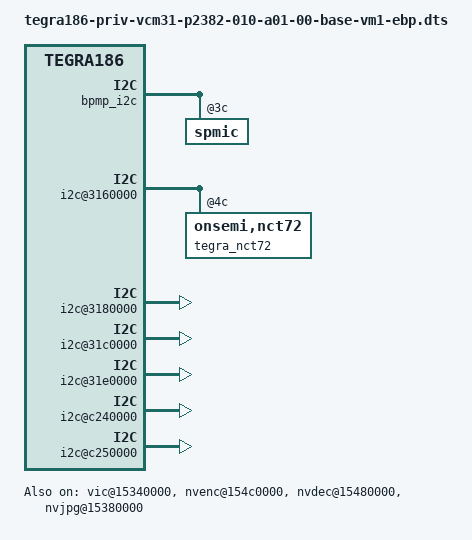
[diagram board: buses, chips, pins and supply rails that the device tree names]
/*
 * tegra186-priv-vcm31-p2382-010-a01-00-base-vm1.dts: P2382(sunstreaker) base vm1 dts
 * file
 *
 * Copyright (c) 2015-2016, NVIDIA CORPORATION.  All rights reserved.
 *
 * This program is free software; you can redistribute it and/or modify
 * it under the terms of the GNU General Public License as published by
 * the Free Software Foundation; version 2 of the License.
 *
 * This program is distributed in the hope that it will be useful, but WITHOUT
 * ANY WARRANTY; without even the implied warranty of MERCHANTABILITY or
 * FITNESS FOR A PARTICULAR PURPOSE.  See the GNU General Public License for
 * more details.
 */

#include "tegra186-platforms/tegra186-vcm31-p2382-common.dtsi"


/ {
	nvidia,dtsfilename = __FILE__;
	nvidia,boardids = "p2382:0010:A01";
	nvidia,proc-boardid = "p2382:0010:A01";

	tegra_hv: hyp {
		compatible = "nvidia,tegra-hv";
		status = "okay";
	};

	chosen {
		nvidia,tegra-hypervisor-mode;
	};

	reserved-memory {
		ivm0: carveout0 {
			status = "okay";
			compatible = "nvidia,ivm_carveout";
			reg = <0x0 0x70c00000 0x0 0x04c00000>;
			ivm = <&tegra_hv 0>;
			alloc = <1>;
			no-map;
		};
	};

	tegra-carveouts {
		status = "okay";
		memory-region = <&ivm0>;
	};

	bpmp {
		compatible = "nvidia,tegra186-bpmp-hv";
		ivc_queue = <&tegra_hv 0 14>;

		bpmpthermal {
			status = "disabled";
		};
	};

	bpmp_i2c {
                spmic: spmic@3c {
			/delete-property/ maxim,enable-sleep;
			/delete-node/ backup-battery;
			/delete-node/ fps;
			regulators {
				/delete-node/ sd0;
				/delete-node/ sd1;
				/delete-node/ sd2;
				/delete-node/ sd3;
				/delete-node/ sd4;
				/delete-node/ ldo0;
				/delete-node/ ldo1;
				/delete-node/ ldo2;
				/delete-node/ ldo4;
				/delete-node/ ldo5;
				/delete-node/ ldo6;
				/delete-node/ ldo7;
				/delete-node/ ldo8;
			};

		};
	};

	aon@c160000 {
		status = "disabled";
	};

	cpuidle {
		compatible = "nvidia,tegra18x-cpuidle";
		status = "disabled";
	};

	sdhci@3440000 {
		/delete-property/ vddio_sdmmc-supply;
		/delete-property/ vddio_sd_slot-supply;
		status = "disabled";
	};

	/delete-node/ pmc-iopower;

	fixed-regulators {
		regulator@5 {
			status = "disabled";
		};
	};

	i2c@3160000 {
		compatible = "nvidia,tegra186-i2c-hv";
		ivc_queue = <&tegra_hv 53>;
		tegra_nct72: onsemi,nct72@4c {
			status = "okay";
			/delete-property/ interrupt-parent;
			/delete-property/ interrupts;
			/delete-property/ temp-alert-gpio;
		};
	};

	i2c@3180000 {
		compatible = "nvidia,tegra186-i2c-hv";
		ivc_queue = <&tegra_hv 53>;
	};

	/* I2C4 used by HDMI in early boot partition */
	i2c@3190000 {
		status = "disabled";
	};

	/* I2C6 used by DP in early boot partition */
	i2c@31b0000 {
		status = "disabled";
	};

	i2c@31c0000 {
		compatible = "nvidia,tegra186-i2c-hv";
		ivc_queue = <&tegra_hv 53>;
	};

	i2c@31e0000 {
		compatible = "nvidia,tegra186-i2c-hv";
		ivc_queue = <&tegra_hv 53>;
	};

	i2c@c240000 {
		compatible = "nvidia,tegra186-i2c-hv";
		ivc_queue = <&tegra_hv 53>;
	};

	i2c@c250000 {
		compatible = "nvidia,tegra186-i2c-hv";
		ivc_queue = <&tegra_hv 53>;
	};

	tegra_hv_net {
		compatible = "nvidia,tegra-hv-net";
		status = "okay";
		ivc = <&tegra_hv 28>;
	};

	tegra_hv_wdt {
		compatible = "nvidia,tegra-hv-wdt";
		status = "okay";
		ivc = <&tegra_hv 51>;
	};

	tegra_arm_wdt:watchdog@30d0000 {
		status = "disabled";
	};

	mc_sid@2c00000 {
		nvidia,by-pass-smmu-streamid = <0x7e>;
		status = "okay";
	};

	pmc@c370000 {
		status = "disabled";
	};

	power-domain {
		host-pd {
			compatible = "nvidia,tegra186-host1x-pd-hv";
		};
	};

	host1x: host1x {
		compatible = "nvidia,tegra186-host1x-hv", "simple-bus";
		reg = <0x0 0x13e10000 0x0 0x00010000>;
		interrupts = <0 265 0x04
					0 263 0x04>;
		nvidia,vmid = <1>;

		nvidia,ch-base = <0>;
		nvidia,nb-channels = <32>;

		nvidia,nb-hw-pts = <576>;
		nvidia,pts-base = <0>;
		nvidia,nb-pts = <288>;

		vmserver-owns-engines = <1>;

		ivc-queue0 = <&tegra_hv 43>;

		vic@15340000 {
			compatible = "nvidia,tegra186-vhost-vic";
			status = "okay";
		};

		nvenc@154c0000 {
			compatible = "nvidia,tegra186-vhost-nvenc";
			status = "okay";
		};

		nvdec@15480000 {
			compatible = "nvidia,tegra186-vhost-nvdec";
			status = "okay";
		};

		nvjpg@15380000 {
			compatible = "nvidia,tegra186-vhost-nvjpg";
			status = "okay";
		};

		host1x_ctx0: ctx0 {
			 status = "okay";
		};

		host1x_ctx1: ctx1 {
			 status = "okay";
		};

		host1x_ctx2: ctx2 {
			 status = "okay";
		};

		host1x_ctx3: ctx3 {
			 status = "okay";
		};

		ctx4 {
			status = "disabled";
		};

		ctx5 {
			status = "disabled";
		};

		ctx6 {
			status = "disabled";
		};

		ctx7 {
			status = "disabled";
		};

		nvdisplay@15200000 {
			status = "disabled";
		};

		nvdisplay@15210000 {
			status = "disabled";
		};

		nvdisplay@15220000 {
			status = "disabled";
		};

		dsi {
			status = "disabled";
		};

		sor {
			status = "disabled";
		};

		sor1 {
			status = "disabled";
		};

		dpaux@155c0000 {
			status = "disabled";
		};

		dpaux@15040000 {
			status = "disabled";
		};

	};

	generic-system-config {
		status = "dislabled";
	};

	dma@2600000 {
		dma-channels = <16>;
		nvidia,start-dma-channel-index = <0>;
		nvidia,stream-id = <TEGRA_SID_GPCDMA_0>;
		status = "okay";
	};

	intc: interrupt-controller@3881000 {
		reg = <0x0 0x03881000 0x0 0x00001000
		       0x0 0x03892000 0x0 0x00002000>;
	};

	gp10b {
		status = "disabled";
	};

	vgpu {
		compatible = "nvidia,tegra186-gp10b-vgpu", "nvidia,tegra124-gk20a-vgpu";
		reg = <0x0 0x18000000 0x0 0x1000000>;
		nvidia,host1x = <&host1x>;
		ivc-queue3 = <&tegra_hv 45>;
		ivc-queue4 = <&tegra_hv 46>;
		mempool3 = <&tegra_hv 1>;
	};

	thermal-zones {
		BCPU-therm {
			status = "disabled";
		};

		MCPU-therm {
			status = "disabled";
		};

		GPU-therm {
			status = "disabled";
		};

		PLL-therm {
			status = "disabled";
		};

		AO-therm {
			status = "disabled";
		};

		Tboard_tegra {
			status = "disabled";
		};

		Tdiode_tegra {
			status = "disabled";
		};
	};

	sound {
		status = "disabled";
	};

	sound_ref {
		status = "disabled";
	};

	ahub {
		status = "disabled";
	};

        adsp_audio {
                status = "disabled";
        };

        adsp@2993000 {
                status = "disabled";
        };

	ptm_a57_0: ptm@9840000 {
		status = "disabled";
	};

	ptm_a57_1: ptm@9940000 {
		status = "disabled";
	};

	ptm_a57_2: ptm@9a40000 {
		status = "disabled";
	};

	ptm_a57_3: ptm@9b40000 {
		status = "disabled";
	};

	funnel_bccplex@9010000 {
		status = "disabled";
	};

	funnel_major@8010000 {
		status = "disabled";
	};

	replicator@0x8040000 {
		status = "disabled";
	};

	etf@8030000 {
		status = "disabled";
	};

	tpiu@8060000 {
		status = "disabled";
	};

	watchdog@30c0000 {
		status = "disabled";
	};

	watchdog@30d0000 {
		status = "disabled";
	};

	timer@3020000 {
		status = "disabled";
	};

	ahci-sata@3507000 {
		status = "disabled";
	};
};
